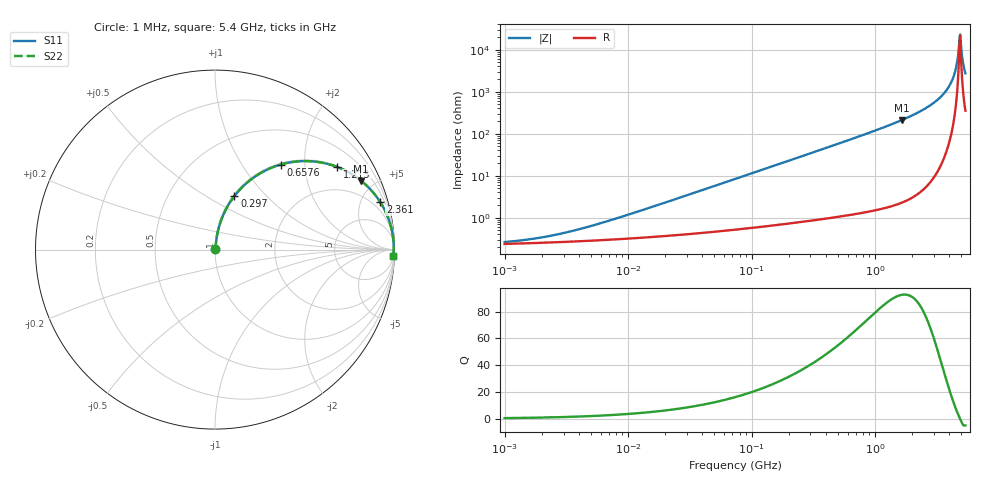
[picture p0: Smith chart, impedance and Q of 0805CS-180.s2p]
# MHz S MA R 50
!Freq  MagS11  AngS11  MagS21  AngS21  MagS12  AngS12  MagS22  AngS22
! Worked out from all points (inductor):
!   801 points, 1 MHz to 5.4 GHz, reference 50 ohm
!   read as one part in series: L = 18 nH near 8.124 MHz
!   highest Q = 92.6 at 1.656 GHz (marker M1), where L = 20.3 nH
!   self-resonance near 4.85 GHz
!   S11 on the Smith chart (normalised r, x): 1 MHz: 1.00, +0.00; 297 MHz: 1.02, +0.67; 657.6 MHz: 1.02, +1.51; 1.213 GHz: 1.03, +2.92; 2.361 GHz: 1.08, +6.97; 5.4 GHz: 8, -54
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1  0.002619 25.5  0.9976 -0.1  0.9976 -0.1  0.002619 25.5
2.053941  0.003425 42.4  0.9975 -0.1  0.9975 -0.1  0.003425 42.4
4.218674  0.005496 59.7  0.9972 -0.3  0.9972 -0.3  0.005496 59.7
17.60704  0.02015 78.8  0.9963 -1.1  0.9963 -1.1  0.02015 78.8
73.48469  0.08258 81.7  0.9915 -4.7  0.9915 -4.7  0.08258 81.7
296.9688  0.3172 70.1  0.9405 -18.5  0.9405 -18.5  0.3172 70.1
310.008  0.3296 69.4  0.9361 -19.2  0.9361 -19.2  0.3296 69.4
657.5932  0.5993 52.3  0.7912 -36.8  0.7912 -36.8  0.5993 52.3
1213.083  0.821 34.2  0.5615 -55.2  0.5615 -55.2  0.821 34.2
1293.848  0.8397 32.2  0.5335 -57.1  0.5335 -57.1  0.8397 32.2
1656.493  0.9005 25.2  0.4253 -64.2  0.4253 -64.2  0.9005 25.2
2361.298  0.9582 16.0  0.2749 -73.4  0.2749 -73.4  0.9582 16.0
3224.409  0.9853 8.8  0.1525 -80.1  0.1525 -80.1  0.9853 8.8
3954.526  0.9938 4.4  0.07661 -83.1  0.07661 -83.1  0.9938 4.4
4217.814  0.9951 3.0  0.05316 -83.2  0.05316 -83.2  0.9951 3.0
4403.007  0.9957 2.1  0.03764 -82.3  0.03764 -82.3  0.9957 2.1
4547.219  0.9959 1.5  0.02609 -80.2  0.02609 -80.2  0.9959 1.5
4746.876  0.996 0.6  0.01104 -68.4  0.01104 -68.4  0.996 0.6
4849.968  0.9959 0.1  0.004808 -32.0  0.004808 -32.0  0.9959 0.1
5008.819  0.9957 -0.5  0.009999 64.4  0.009999 64.4  0.9957 -0.5
5228.743  0.9952 -1.4  0.02495 78.2  0.02495 78.2  0.9952 -1.4
5400  0.9946 -2.1  0.03648 80.5  0.03648 80.5  0.9946 -2.1
